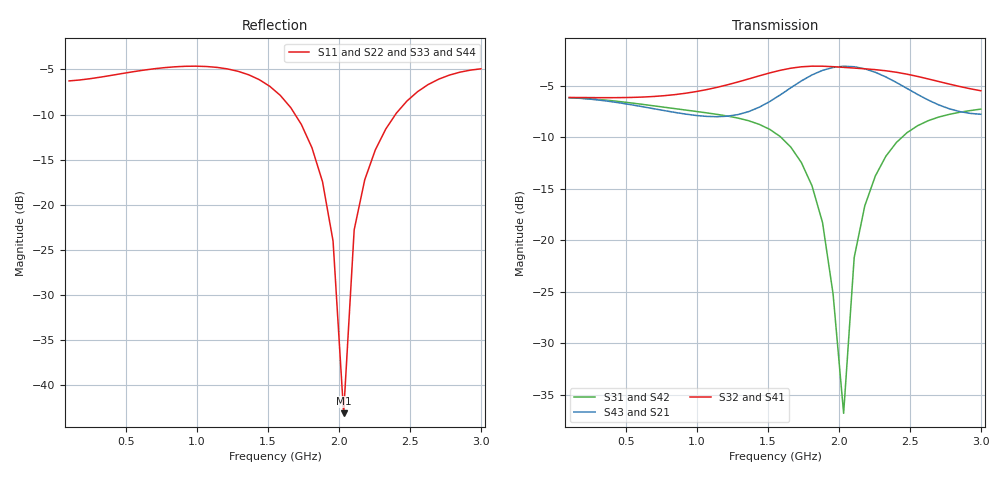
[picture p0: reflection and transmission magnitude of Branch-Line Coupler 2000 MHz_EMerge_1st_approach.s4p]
! Generated by EMerge - 4-port S-parameters
! File generated: 2026-02-18 05:41
! --- Branch-Line Coupler 2000 MHz ---
! Substrate: RO4003C
! h = 0.508 mm
! W50 = 1.1 mm, W35 = 1.87 mm
! L35 = 22 mm, L50 = 22 mm
! L_feed = 5 mm
! Run time = 1.59 min
# GHZ S RI R 50
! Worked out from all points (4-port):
!   40 points, 100 MHz to 3 GHz, reference 50 ohm
!   strongest paths, dB at 100 MHz, 843.6 MHz, 1.587 GHz, 2.331 GHz, 3 GHz:
!     S32: -6.1, -5.9, -3.5, -3.5, -5.5
!     S41: -6.1, -5.9, -3.5, -3.5, -5.5
!     S43: -6.2, -7.6, -5.9, -4.1, -7.8
!     S21: -6.2, -7.6, -5.9, -4.1, -7.7
!     S31: -6.1, -7.2, -9.9, -11.8, -7.3
!     S42: -6.1, -7.2, -9.9, -11.8, -7.3
!   lowest |S11| = -43.2 dB at 2.033 GHz (marker M1), VSWR 1.01, Z = 49.7 - j0.632 ohm
!   |S11| at or under -10 dB: 1.692 GHz to 2.398 GHz (706.8 MHz wide, 34.6 % of centre)
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0.1  -0.4857 0.015  0.4877 -0.0677  0.4868 -0.0764  0.4858 -0.0887
     0.4877 -0.0677  -0.4857 0.015  0.4858 -0.0887  0.4868 -0.0764
     0.4868 -0.0764  0.4858 -0.0887  -0.4857 0.015  0.4877 -0.0677
     0.4858 -0.0887  0.4868 -0.0764  0.4877 -0.0677  -0.4857 0.015
1.661538  0.081 0.3352  -0.0391 -0.5489  -0.2664 -0.0964  -0.6844 -0.0437
          -0.0391 -0.5489  0.0801 0.3368  -0.6837 -0.0448  -0.2662 -0.0967
          -0.2664 -0.0964  -0.6837 -0.0448  0.0797 0.3366  -0.04 -0.549
          -0.6844 -0.0437  -0.2662 -0.0967  -0.04 -0.549  0.0799 0.3352
1.958974  0.047 0.0415  -0.4166 -0.5513  -0.0468 0.0286  -0.5558 0.4207
          -0.4166 -0.5513  0.0481 0.0439  -0.5569 0.4189  -0.047 0.0282
          -0.0468 0.0286  -0.5569 0.4189  0.0475 0.0442  -0.4176 -0.5505
          -0.5558 0.4207  -0.047 0.0282  -0.4176 -0.5505  0.0458 0.0424
2.033333  -0.00276 -0.00636  -0.51 -0.4799  0.0118 -0.00824  -0.4729 0.5045
          -0.51 -0.4799  -0.00113 -0.00424  -0.4745 0.5031  0.0115 -0.00859
          0.0118 -0.00825  -0.4745 0.5031  -0.00157 -0.0038  -0.5109 -0.4789
          -0.4729 0.5045  0.0115 -0.00859  -0.511 -0.4789  -0.00381 -0.00519
2.107692  -0.0601 -0.0404  -0.58 -0.3857  0.0486 -0.0664  -0.3792 0.5714
          -0.58 -0.3857  -0.0581 -0.0387  -0.3812 0.5704  0.0482 -0.0667
          0.0486 -0.0665  -0.3812 0.5705  -0.0584 -0.0382  -0.5807 -0.3845
          -0.3792 0.5714  0.0482 -0.0667  -0.5807 -0.3845  -0.061 -0.0391
2.25641  -0.1899 -0.0661  -0.6311 -0.1736  0.0382 -0.2013  -0.1681 0.652
         -0.6311 -0.1736  -0.1875 -0.0656  -0.1703 0.6522  0.0377 -0.2014
         0.0382 -0.2013  -0.1703 0.6522  -0.1875 -0.065  -0.6315 -0.1722
         -0.1681 0.652  0.0377 -0.2014  -0.6315 -0.1723  -0.1905 -0.0646
3  -0.3807 0.4206  -0.3477 0.2169  -0.4287 -0.0643  0.5076 0.1565
   -0.3477 0.2169  -0.3804 0.4199  0.5084 0.1575  -0.4285 -0.0638
   -0.4287 -0.0643  0.5084 0.1575  -0.3805 0.4201  -0.3463 0.2179
   0.5077 0.1565  -0.4285 -0.0638  -0.3463 0.2179  -0.3804 0.4218
